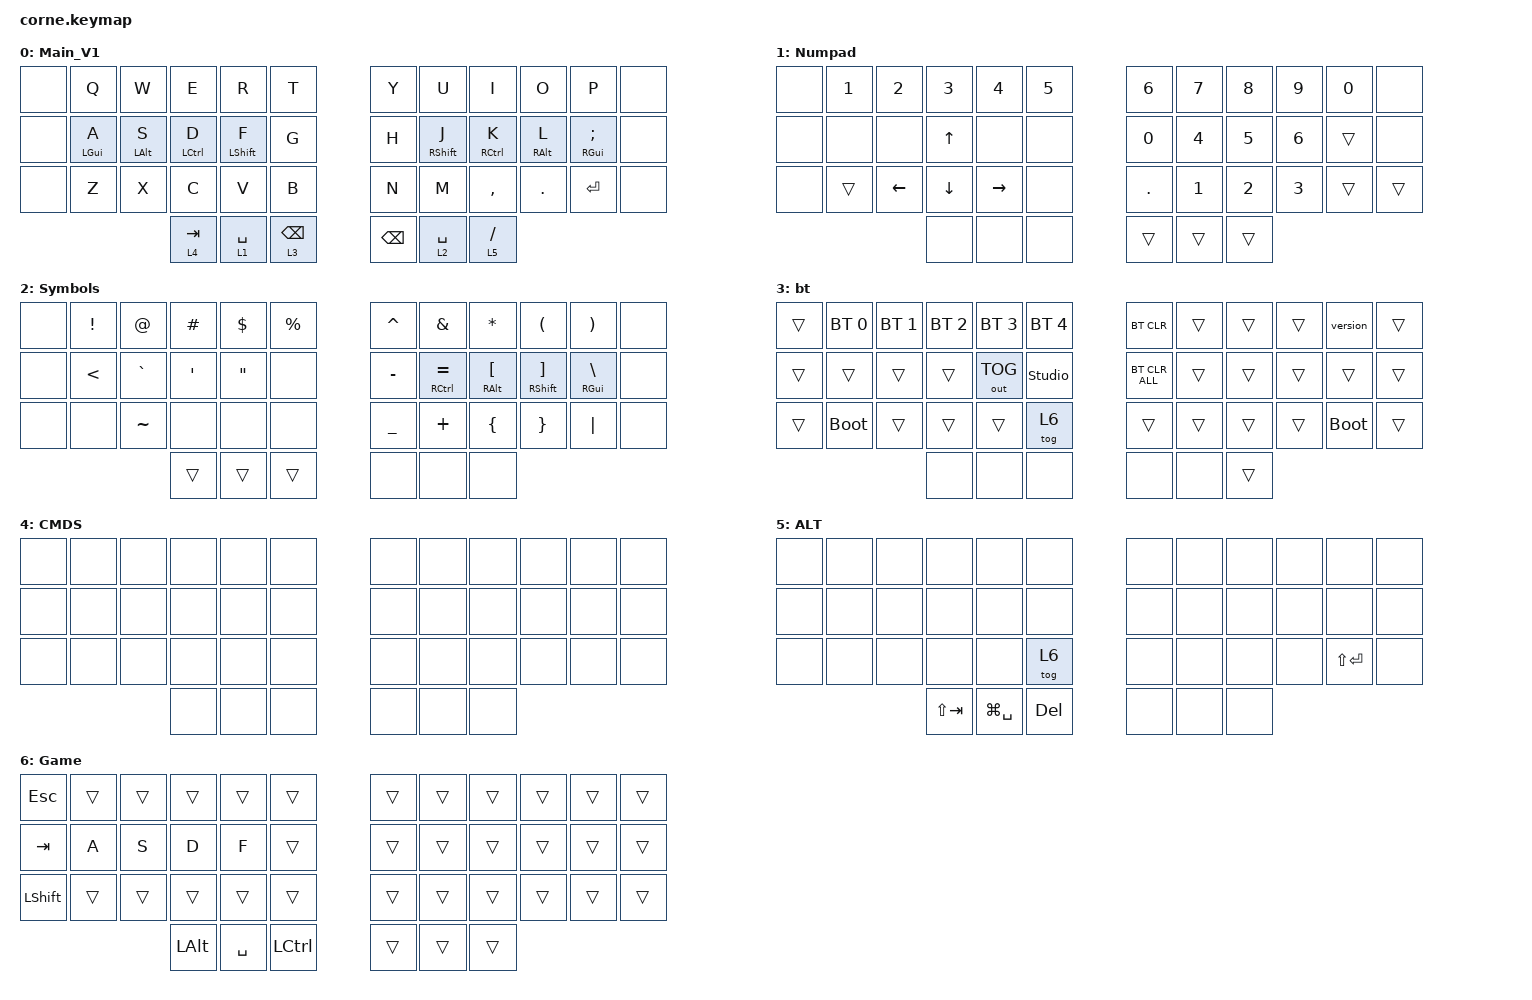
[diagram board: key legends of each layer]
#include <behaviors.dtsi>
#include <dt-bindings/zmk/bt.h>
#include <dt-bindings/zmk/keys.h>
#include <dt-bindings/zmk/outputs.h>

#define DEF 0
#define NAV 1
#define SYM 2
#define ADJ 3

//testing mouse movement and scroll binds...

/ {
    behaviors {
        hm: homerow_mods {
            compatible = "zmk,behavior-hold-tap";
            label = "HOMEROW_MODS";
            #binding-cells = <2>;
            tapping-term-ms = <200>;
            quick_tap_ms = <0>;
            flavor = "tap-preferred";
            bindings = <&kp>, <&kp>;

            quick-tap-ms = <180>;
            global-quick-tap;
        };

        para: para {
            compatible = "zmk,behavior-tap-dance";
            label = "PARA";
            #binding-cells = <0>;
            bindings = <&kp LEFT_PARENTHESIS>, <&kp RIGHT_PARENTHESIS>;
        };

        caps: caps {
            compatible = "zmk,behavior-caps-word";
            label = "CAPS";
            #binding-cells = <0>;
            continue-list = <MINUS BACKSPACE>;
        };

        paraless: paraless {
            compatible = "zmk,behavior-mod-morph";
            label = "PARALESS";
            bindings = <&kp LEFT_PARENTHESIS>, <&kp LESS_THAN>;

            #binding-cells = <0>;
            mods = <(MOD_LSFT)>;
        };

        paragreat: paragreat {
            compatible = "zmk,behavior-mod-morph";
            label = "PARAGREAT";
            bindings = <&kp RIGHT_PARENTHESIS>, <&kp GREATER_THAN>;

            #binding-cells = <0>;
            mods = <(MOD_LSFT)>;
        };
    };

    combos {
        compatible = "zmk,combos";

        escape {
            bindings = <&kp ESCAPE>;
            key-positions = <37 16>;
        };

        delete {
            bindings = <&kp DELETE>;
            key-positions = <15 21>;
        };

        perc {
            bindings = <&kp PERCENT>;
            key-positions = <5 17>;
        };

        equal {
            bindings = <&kp EQUAL>;
            key-positions = <28 16>;
        };

        dollar {
            bindings = <&kp DOLLAR>;
            key-positions = <4 16>;
        };

        pound {
            bindings = <&kp POUND>;
            key-positions = <3 15>;
        };

        at {
            bindings = <&kp AT>;
            key-positions = <2 14>;
        };

        backslash {
            bindings = <&kp BACKSLASH>;
            key-positions = <26 14>;
        };

        copy {
            bindings = <&kp LC(C)>;
            key-positions = <28 27>;
        };

        paste {
            bindings = <&kp LC(V)>;
            key-positions = <28 29>;
        };

        star {
            bindings = <&kp STAR>;
            key-positions = <8 20>;
        };

        slash {
            bindings = <&kp SLASH>;
            key-positions = <32 20>;
        };

        plus {
            bindings = <&kp PLUS>;
            key-positions = <7 19>;
        };

        minus {
            bindings = <&kp KP_MINUS>;
            key-positions = <31 19>;
        };

        underscore {
            bindings = <&kp UNDER>;
            key-positions = <30 18>;
        };

        leftbrack {
            bindings = <&kp LEFT_BRACKET>;
            key-positions = <31 32>;
        };

        rightbrack {
            bindings = <&kp RIGHT_BRACKET>;
            key-positions = <33 32>;
        };

        para-less {
            bindings = <&paraless>;
            key-positions = <20 19>;
        };

        para-great {
            bindings = <&paragreat>;
            key-positions = <20 21>;
        };

        Apostrohe {
            bindings = <&kp LS(SQT)>;
            key-positions = <21 22>;
        };

        double_q {
            bindings = <&kp APOSTROPHE>;
            key-positions = <34 33>;
        };
    };

    //

    macros {
        version: version {
            compatible = "zmk,behavior-macro";
            #binding-cells = <0>;
            bindings = <&none &kp V &kp E &kp R &kp S &kp I &kp O &kp N &kp EQUAL &kp N1 &kp DOT &kp N0 &kp DOT &kp N1>;
            label = "VERSION";
        };
    };

    keymap {
        compatible = "zmk,keymap";

        Main_101 {
            display-name = "Main_V1";

            // -----------------------------------------------------------------------------------------
            // |  Q  |  W  |  E  |  R  |  T  |   |  Y  |  U   |  I  |  O  |  P  |
            // |  A  |  S  |  D  |  F  |  G  |   |  H  |  J   |  K  |  L  |  ;  |
            // |  Z  |  X  |  C  |  V  |  B  |   |  N  |  M   |  ,  |  .  |  /  |
            // | GUI | CTRL | SHFT | LWR | SPC |   | ENT | RSE  | BKSP | ALT | ESC |

            bindings = <
&none  &kp Q       &kp W           &kp E               &kp R             &kp T              &kp Y          &kp U              &kp I                &kp O            &kp P          &none
&none  &hm LGUI A  &hm LEFT_ALT S  &hm LEFT_CONTROL D  &hm LEFT_SHIFT F  &kp G              &kp H          &hm RIGHT_SHIFT J  &hm RIGHT_CONTROL K  &hm RIGHT_ALT L  &hm RGUI SEMI  &none
&none  &kp Z       &kp X           &kp C               &kp V             &kp B              &kp N          &kp M              &kp COMMA            &kp DOT          &kp ENTER      &none
                                   &lt 4 TAB           &lt 1 SPACE       &lt 3 BACKSPACE    &kp BACKSPACE  &lt 2 SPACE        &lt 5 SLASH
            >;

            label = "v1.0.1";
        };

        Numpad {
            display-name = "Numpad";

            // -----------------------------------------------------------------------------------------
            // |  TAB |  1  |  2  |  3  |  4  |  5  |   |  6  |  7  |  8  |  9  |  0  | BKSP |
            // | BTCLR| BT1 | BT2 | BT3 | BT4 | BT5 |   | LFT | DWN |  UP | RGT |     |      |
            // | SHFT |     |     |     |     |     |   |     |     |     |     |     |      |
            // | GUI | CTRL | SHFT | LWR | SPC |   | ENT | RSE  | BKSP | ALT | ESC |

            bindings = <
&none  &kp N1  &kp N2    &kp N3    &kp N4     &kp N5    &kp N6      &kp N7  &kp N8  &kp N9  &kp N0  &none
&none  &none   &none     &kp UP    &none      &none     &kp N0      &kp N4  &kp N5  &kp N6  &trans  &none
&none  &trans  &kp LEFT  &kp DOWN  &kp RIGHT  &none     &kp PERIOD  &kp N1  &kp N2  &kp N3  &trans  &trans
                         &none     &none      &none     &trans      &trans  &trans
            >;
        };

        Symbols {
            display-name = "Symbols";

            // -----------------------------------------------------------------------------------------
            // |  TAB |  !  |  @  |  #  |  $  |  %  |   |  ^  |  &  |  *  |  (  |  )  | BKSP |
            // | CTRL |     |     |     |     |     |   |  -  |  =  |  [  |  ]  |  \  |  `   |
            // | SHFT |     |     |     |     |     |   |  _  |  +  |  {  |  }  | "|" |  ~   |
            //                    | GUI |     | SPC |   | ENT |     | ALT |

            bindings = <
&none  &kp EXCL       &kp AT     &kp HASH          &kp DLLR           &kp PRCNT    &kp CARET  &kp AMPS         &kp ASTRK      &kp LEFT_PARENTHESIS  &kp RPAR       &none
&none  &kp LESS_THAN  &kp GRAVE  &kp SINGLE_QUOTE  &kp DOUBLE_QUOTES  &none        &kp MINUS  &hm RCTRL EQUAL  &hm RALT LBKT  &hm RSHFT RBKT        &hm RGUI BSLH  &none
&none  &none          &kp TILDE  &none             &none              &none        &kp UNDER  &kp PLUS         &kp LBRC       &kp RBRC              &kp PIPE       &none
                                 &trans            &trans             &trans       &none      &none            &none
            >;
        };

        Bluetooth {
            display-name = "bt";
            bindings = <
&trans  &bt BT_SEL 0  &bt BT_SEL 1  &bt BT_SEL 2  &bt BT_SEL 3  &bt BT_SEL 4      &bt BT_CLR      &trans  &trans  &trans  &version     &trans
&trans  &trans        &trans        &trans        &out OUT_TOG  &studio_unlock    &bt BT_CLR_ALL  &trans  &trans  &trans  &trans       &trans
&trans  &bootloader   &trans        &trans        &trans        &tog 6            &trans          &trans  &trans  &trans  &bootloader  &trans
                                    &none         &none         &none             &none           &none   &trans
            >;
        };

        Shortcuts {
            bindings = <
&none  &none  &none  &none  &none  &none    &none  &none  &none  &none  &none  &none
&none  &none  &none  &none  &none  &none    &none  &none  &none  &none  &none  &none
&none  &none  &none  &none  &none  &none    &none  &none  &none  &none  &none  &none
                     &none  &none  &none    &none  &none  &none
            >;

            label = "CMDS";
        };

        Shifted {
            bindings = <
&none  &none  &none  &none        &none          &none      &none  &none  &none  &none  &none          &none
&none  &none  &none  &none        &none          &none      &none  &none  &none  &none  &none          &none
&none  &none  &none  &none        &none          &tog 6     &none  &none  &none  &none  &kp LS(ENTER)  &none
                     &kp LS(TAB)  &kp LG(SPACE)  &kp DEL    &none  &none  &none
            >;

            label = "ALT";
        };

        Gaming {
            bindings = <
&kp ESCAPE      &trans  &trans  &trans        &trans     &trans              &trans  &trans  &trans  &trans  &trans  &trans
&kp TAB         &kp A   &kp S   &kp D         &kp F      &trans              &trans  &trans  &trans  &trans  &trans  &trans
&kp LEFT_SHIFT  &trans  &trans  &trans        &trans     &trans              &trans  &trans  &trans  &trans  &trans  &trans
                                &kp LEFT_ALT  &kp SPACE  &kp LEFT_CONTROL    &trans  &trans  &trans
            >;

            label = "Game";
        };
    };

    conditional_layers { compatible = "zmk,conditional-layers"; };
};
